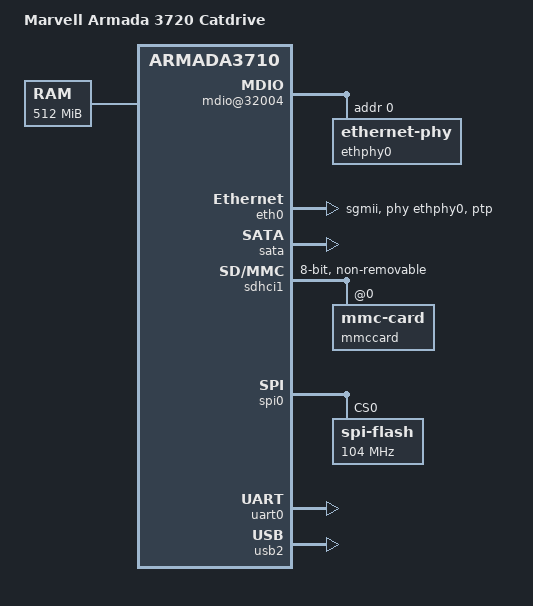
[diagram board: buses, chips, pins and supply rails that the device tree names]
// SPDX-License-Identifier: GPL-2.0+
/dts-v1/;

#include "armada-372x.dtsi"

/ {
	model = "Marvell Armada 3720 Catdrive";
	compatible = "marvell,armada-3720-catdrive",
		     "marvell,armada3720", "marvell,armada3710";

	chosen {
		stdout-path = "serial0:115200n8";
	};

	aliases {
		ethernet0 = &eth0;
		spi0 = &spi0;
	};

	memory {
		device_type = "memory";
		reg = <0x00000000 0x00000000 0x00000000 0x20000000>;
	};

	soc {
		internal-regs {
			mdio@32004 {
				#address-cells = <1>;
				#size-cells = <0>;
				reg = <0x32004 0x04>;
				ethphy0: ethernet-phy@0 {
					reg = <0>;
				};
			};
		};
	};
};

&eth0 {
	status = "okay";
	phy-mode = "sgmii";
	phy = <&ethphy0>;
	pinctrl-names = "default";
	pinctrl-0 = <&ptp_pins &smi_pins>;
};

&pinctrl_sb {
	ptp_pins: ptp-pins {
		groups = "ptp";
		function = "gpio";
	};
};

&comphy {
	phy0 {
		phy-type = <COMPHY_TYPE_UNCONNECTED>;
		phy-speed = <COMPHY_SPEED_INVALID>;
	};

	phy1 {
		phy-type = <COMPHY_TYPE_SGMII0>;
		phy-speed = <COMPHY_SPEED_1_25G>;
	};

	phy2 {
		phy-type = <COMPHY_TYPE_SATA0>;
		phy-speed = <COMPHY_SPEED_6G>;
		phy-invert = <COMPHY_POLARITY_TXD_INVERT>;
	};
};

&sata {
	status = "okay";
};

&sdhci1 {
	non-removable;
	bus-width = <8>;
	mmc-ddr-1_8v;
	mmc-hs200-1_8v;
	marvell,pad-type = "fixed-1-8v";
	pinctrl-names = "default";
	pinctrl-0 = <&mmc_pins>;
	status = "okay";

	#address-cells = <1>;
	#size-cells = <0>;
	mmccard: mmccard@0 {
		compatible = "mmc-card";
		reg = <0>;
	};
};

&spi0 {
	status = "okay";

	spi-flash@0 {
		#address-cells = <1>;
		#size-cells = <1>;
		compatible = "spi-flash";
		reg = <0>;
		spi-max-frequency = <104000000>;
	};
};

&uart0 {
	pinctrl-names = "default";
	pinctrl-0 = <&uart1_pins>;
	status = "okay";
};

&usb2 {
	status = "okay";
};
